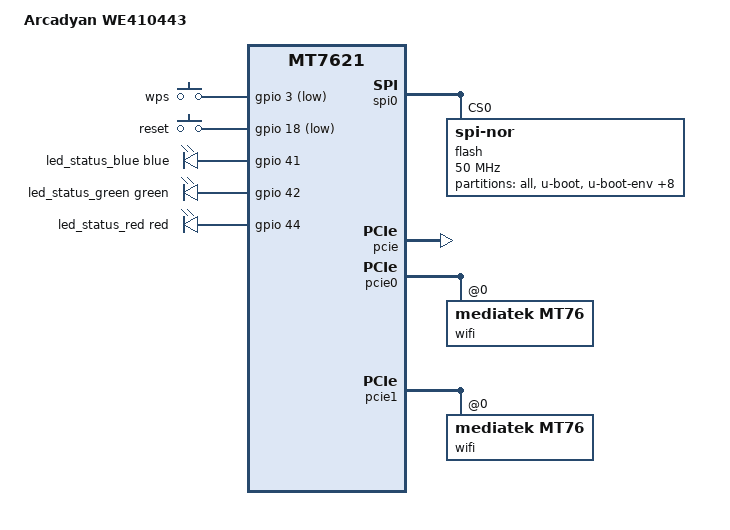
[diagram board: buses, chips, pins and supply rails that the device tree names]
// SPDX-License-Identifier: GPL-2.0-or-later OR MIT

#include "mt7621.dtsi"

#include <dt-bindings/gpio/gpio.h>
#include <dt-bindings/input/input.h>
#include <dt-bindings/leds/common.h>

/ {
	model = "Arcadyan WE410443";
	compatible = "arcadyan,we410443", "mediatek,mt7621-soc";

	aliases {
		led-boot = &led_status_green;
		led-failsafe = &led_status_red;
		led-running = &led_status_green;
		led-upgrade = &led_status_blue;
	};

	keys {
		compatible = "gpio-keys";

		wps {
			label = "wps";
			gpios = <&gpio 3 GPIO_ACTIVE_LOW>;
			linux,code = <KEY_WPS_BUTTON>;
		};

		reset {
			label = "reset";
			gpios = <&gpio 18 GPIO_ACTIVE_LOW>;
			linux,code = <KEY_RESTART>;
		};
	};

	leds {
		compatible = "gpio-leds";

		led_status_blue: blue {
			color = <LED_COLOR_ID_BLUE>;
			function = LED_FUNCTION_STATUS;
			gpios = <&gpio 41 GPIO_ACTIVE_HIGH>;
		};

		led_status_green: green {
			color = <LED_COLOR_ID_GREEN>;
			function = LED_FUNCTION_STATUS;
			gpios = <&gpio 42 GPIO_ACTIVE_HIGH>;
		};

		led_status_red: red {
			color = <LED_COLOR_ID_RED>;
			function = LED_FUNCTION_STATUS;
			gpios = <&gpio 44 GPIO_ACTIVE_HIGH>;
		};
	};
};

&spi0 {
	status = "okay";

	flash@0 {
		compatible = "jedec,spi-nor";
		reg = <0>;
		spi-max-frequency = <50000000>;

		partitions {
			compatible = "fixed-partitions";
			#address-cells = <1>;
			#size-cells = <1>;

			partition@0 {
				label = "all";
				reg = <0x0 0x2000000>;
				read-only;
			};

			partition@1 {
				label = "u-boot";
				reg = <0x0 0x30000>;
				read-only;
			};

			partition@30000 {
				label = "u-boot-env";
				reg = <0x30000 0x10000>;
				read-only;
			};

			partition@40000 {
				label = "factory";
				reg = <0x40000 0x10000>;
				read-only;

				nvmem-layout {
					compatible = "fixed-layout";
					#address-cells = <1>;
					#size-cells = <1>;

					eeprom_factory_0: eeprom@0 {
						reg = <0x0 0x4da8>;
					};

					eeprom_factory_8000: eeprom@8000 {
						reg = <0x8000 0x4da8>;
					};
				};
			};

			partition@50000 {
				compatible = "fixed-partitions";
				label = "firmware";
				reg = <0x50000 0x1f60000>;
				#address-cells = <1>;
				#size-cells = <1>;

				partition@0 {
					label = "kernel";
					reg = <0x0 0x440000>;
				};

				partition@400000 {
					label = "rootfs";
					reg = <0x440000 0x1b20000>;
				};
			};

			partition@1fb0000 {
				label = "glbcfg";
				reg = <0x1fb0000 0x10000>;
				read-only;
			};

			partition@1fc0000 {
				label = "config";
				reg = <0x1fc0000 0x10000>;
				read-only;
			};

			partition@1fd0000 {
				label = "glbcfg2";
				reg = <0x1fd0000 0x10000>;
				read-only;
			};

			partition@1fe0000 {
				label = "config2";
				reg = <0x1fe0000 0x10000>;
				read-only;
			};
		};
	};
};

&pcie {
	status = "okay";
};

&pcie0 {
	wifi@0,0 {
		compatible = "mediatek,mt76";
		reg = <0x0000 0 0 0 0>;
		nvmem-cells = <&eeprom_factory_0>;
		nvmem-cell-names = "eeprom";
		ieee80211-freq-limit = <2400000 2500000>;
	};
};

&pcie1 {
	wifi@0,0 {
		compatible = "mediatek,mt76";
		reg = <0x0000 0 0 0 0>;
		nvmem-cells = <&eeprom_factory_8000>;
		nvmem-cell-names = "eeprom";
		ieee80211-freq-limit = <5000000 6000000>;
	};
};

&state_default {
	gpio {
		groups = "i2c", "wdt", "sdhci";
		function = "gpio";
	};
};

&switch0 {
	ports {
		port@0 {
			status = "okay";
			label = "lan";
		};
	};
};

&xhci {
	status = "disabled";
};
